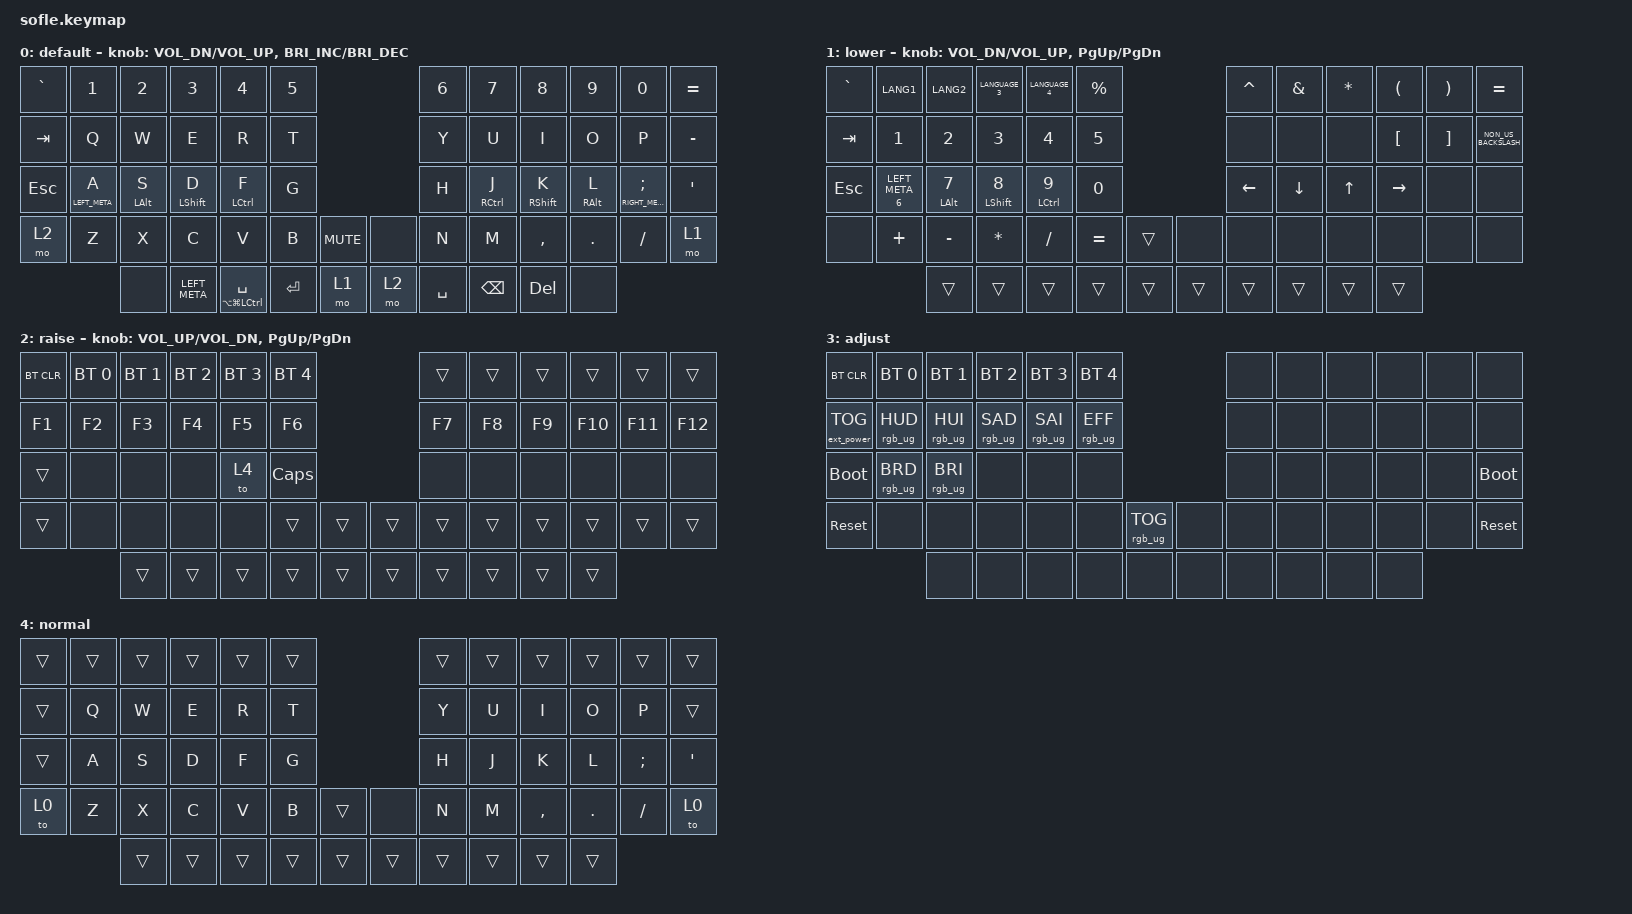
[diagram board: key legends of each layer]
/*
 * Copyright (c) 2020 The ZMK Contributors
 *
 * SPDX-License-Identifier: MIT
 */

#include <behaviors.dtsi>
#include <dt-bindings/zmk/bt.h>
#include <dt-bindings/zmk/ext_power.h>
#include <dt-bindings/zmk/keys.h>
#include <dt-bindings/zmk/rgb.h>

#define BASE 0
#define LOWER 1
#define RAISE 2
#define ADJUST 3

/ {
    // Activate ADJUST layer by pressing raise and lower

    conditional_layers {
        compatible = "zmk,conditional-layers";

        adjust_layer {
            if-layers = <1 2>;
            then-layer = <3>;
        };
    };

    behaviors {
        better_th: better_th {
            compatible = "zmk,behavior-hold-tap";
            label = "BETTER_TH";
            bindings = <&kp>, <&kp>;

            #binding-cells = <2>;
            flavor = "tap-preferred";
            tapping-term-ms = <200>;
            quick-tap-ms = <150>;
        };
    };

    keymap {
        compatible = "zmk,keymap";

        default_layer {
            label = "default";

            // ------------------------------------------------------------------------------------------------------------
            // |   `   |  1  |  2  |  3   |  4   |  5   |                   |  6   |  7    |  8    |  9   |   0   |       |
            // |  ESC  |  Q  |  W  |  E   |  R   |  T   |                   |  Y   |  U    |  I    |  O   |   P   | BKSPC |
            // |  TAB  |  A  |  S  |  D   |  F   |  G   |                   |  H   |  J    |  K    |  L   |   ;   |   '   |
            // | SHIFT |  Z  |  X  |  C   |  V   |  B   |  MUTE  |  |       |  N   |  M    |  ,    |  .   |   /   | SHIFT |
            //               | GUI | ALT  | CTRL | LOWER|  ENTER |  | SPACE | RAISE| CTRL  | ALT   | GUI  |

            bindings = <
&kp GRAVE   &kp N1                  &kp N2                 &kp N3                   &kp N4                   &kp N5                          &kp N6     &kp N7              &kp N8               &kp N9             &kp N0                      &kp EQUAL
&kp TAB     &kp Q                   &kp W                  &kp E                    &kp R                    &kp T                           &kp Y      &kp U               &kp I                &kp O              &kp P                       &kp MINUS
&kp ESCAPE  &better_th LEFT_META A  &better_th LEFT_ALT S  &better_th LEFT_SHIFT D  &better_th LCTRL F       &kp G                           &kp H      &better_th RCTRL J  &better_th RSHIFT K  &better_th RALT L  &better_th RIGHT_META SEMI  &kp SQT
&mo 2       &kp Z                   &kp X                  &kp C                    &kp V                    &kp B      &kp C_MUTE    &none  &kp N      &kp M               &kp COMMA            &kp DOT            &kp FSLH                    &mo 1
                                    &none                  &kp LEFT_META            &mt LA(LG(LCTRL)) SPACE  &kp ENTER  &mo 1         &mo 2  &kp SPACE  &kp BACKSPACE       &kp DELETE           &none
            >;

            sensor-bindings =
                <&inc_dec_kp C_VOL_DN C_VOLUME_UP>,
                <&inc_dec_kp C_BRIGHTNESS_INC C_BRIGHTNESS_DEC>;
        };

        lower_layer {
            label = "lower";

            // TODO: Some binds are waiting for shifted keycode support.
            // ------------------------------------------------------------------------------------------------------------
            // |       |  F1 |  F2 |  F3  |  F4  |  F5  |                   |  F6  |  F7   |  F8   |  F9  |  F10  |  F11  |
            // |   `   |  1  |  2  |  3   |  4   |  5   |                   |  6   |  7    |  8    |  9   |   0   |  F12  |
            // |       |  !  |  @  |  #   |  $   |  %   |                   |  ^   |  &    |  *    |  (   |   )   |   |   |
            // |       |  =  |  -  |  +   |  {   |  }   |        |  |       |  [   |  ]    |  ;    |  :   |   \   |       |
            //               |     |      |      |      |        |  |       |      |       |       |      |

            bindings = <
&kp GRAVE   &kp LANG1                      &kp LANG2                     &kp LANGUAGE_3            &kp LANGUAGE_4              &kp PERCENT                    &kp CARET       &kp AMPERSAND   &kp ASTERISK  &kp LEFT_PARENTHESIS  &kp RIGHT_PARENTHESIS  &kp EQUAL
&kp TAB     &kp NUMBER_1                   &kp NUMBER_2                  &kp NUMBER_3              &kp N4                      &kp N5                         &none           &none           &none         &kp LEFT_BRACKET      &kp RIGHT_BRACKET      &kp NON_US_BACKSLASH
&kp ESCAPE  &better_th NUMBER_6 LEFT_META  &better_th LEFT_ALT NUMBER_7  &better_th LEFT_SHIFT N8  &better_th LEFT_CONTROL N9  &kp N0                         &kp LEFT_ARROW  &kp DOWN_ARROW  &kp UP_ARROW  &kp RIGHT_ARROW       &none                  &none
&none       &kp PLUS                       &kp MINUS                     &kp ASTERISK              &kp SLASH                   &kp EQUAL    &trans    &none   &none           &none           &none         &none                 &none                  &none
                                           &trans                        &trans                    &trans                      &trans       &trans    &trans  &trans          &trans          &trans        &trans
            >;

            sensor-bindings =
                <&inc_dec_kp C_VOL_DN C_VOL_UP>,
                <&inc_dec_kp PG_UP PG_DN>;
        };

        raise_layer {
            label = "raise";

            // ------------------------------------------------------------------------------------------------------------
            // | BTCLR | BT1  | BT2  |  BT3  |  BT4  |  BT5 |                |      |      |       |      |       |       |
            // |       | INS  | PSCR | GUI   |       |      |                | PGUP |      |   ^   |      |       |       |
            // |       | ALT  | CTRL | SHIFT |       | CAPS |                | PGDN |   <- |   v   |  ->  |  DEL  | BKSPC |
            // |       | UNDO | CUT  | COPY  | PASTE |      |      |  |      |      |      |       |      |       |       |
            //                |      |       |       |      |      |  |      |      |      |       |      |

            bindings = <
&bt BT_CLR  &bt BT_SEL 0  &bt BT_SEL 1  &bt BT_SEL 2  &bt BT_SEL 3  &bt BT_SEL 4                    &trans  &trans  &trans  &trans   &trans   &trans
&kp F1      &kp F2        &kp F3        &kp F4        &kp F5        &kp F6                          &kp F7  &kp F8  &kp F9  &kp F10  &kp F11  &kp F12
&trans      &none         &none         &none         &to 4         &kp CLCK                        &none   &none   &none   &none    &none    &none
&trans      &none         &none         &none         &none         &trans        &trans    &trans  &trans  &trans  &trans  &trans   &trans   &trans
                          &trans        &trans        &trans        &trans        &trans    &trans  &trans  &trans  &trans  &trans
            >;

            sensor-bindings = <&inc_dec_kp C_VOL_UP C_VOL_DN &inc_dec_kp PG_UP PG_DN>;
        };

        adjust_layer {
            // ----------------------------------------------------------------------------------------------------------------------------
            // | BTCLR  |  BT1    |  BT2    |   BT3   |   BT4   |   BT5   |                  |      |      |       |      |       |       |
            // | EXTPWR | RGB_HUD | RGB_HUI | RGB_SAD | RGB_SAI | RGB_EFF |                  |      |      |       |      |       |       |
            // |        | RGB_BRD | RGB_BRI |         |         |         |                  |      |      |       |      |       |       |
            // |        |         |         |         |         |         | RGB_TOG | |      |      |      |       |      |       |       |
            //                    |         |         |         |         |         | |      |      |      |       |      |

            label = "adjust";
            bindings = <
&bt BT_CLR         &bt BT_SEL 0     &bt BT_SEL 1     &bt BT_SEL 2     &bt BT_SEL 3     &bt BT_SEL 4                               &none  &none  &none  &none  &none  &none
&ext_power EP_TOG  &rgb_ug RGB_HUD  &rgb_ug RGB_HUI  &rgb_ug RGB_SAD  &rgb_ug RGB_SAI  &rgb_ug RGB_EFF                            &none  &none  &none  &none  &none  &none
&bootloader        &rgb_ug RGB_BRD  &rgb_ug RGB_BRI  &none            &none            &none                                      &none  &none  &none  &none  &none  &bootloader
&sys_reset         &none            &none            &none            &none            &none            &rgb_ug RGB_TOG    &none  &none  &none  &none  &none  &none  &sys_reset
                                    &none            &none            &none            &none            &none              &none  &none  &none  &none  &none
            >;
        };

        normal {
            bindings = <
&trans  &trans  &trans  &trans  &trans  &trans                    &trans  &trans  &trans     &trans   &trans    &trans
&trans  &kp Q   &kp W   &kp E   &kp R   &kp T                     &kp Y   &kp U   &kp I      &kp O    &kp P     &trans
&trans  &kp A   &kp S   &kp D   &kp F   &kp G                     &kp H   &kp J   &kp K      &kp L    &kp SEMI  &kp APOS
&to 0   &kp Z   &kp X   &kp C   &kp V   &kp B   &trans    &none   &kp N   &kp M   &kp COMMA  &kp DOT  &kp FSLH  &to 0
                &trans  &trans  &trans  &trans  &trans    &trans  &trans  &trans  &trans     &trans
            >;
        };
    };
};
